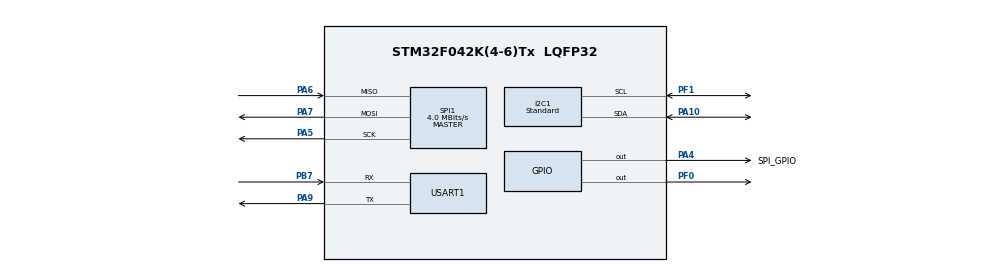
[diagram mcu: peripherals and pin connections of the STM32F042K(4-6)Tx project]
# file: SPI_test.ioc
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I2C1.Analog_Filter=I2C_ANALOGFILTER_DISABLE
I2C1.I2C_Speed_Mode=I2C_Standard
I2C1.Timing=0x00101D2D
Mcu.Family=STM32F0
Mcu.Name=STM32F042K(4-6)Tx
Mcu.Package=LQFP32
PA10.Mode=I2C
PA10.Signal=I2C1_SDA
PA4.GPIO_Label=SPI_GPIO
PA4.Signal=GPIO_Output
PA5.Mode=Full_Duplex_Master
PA5.Signal=SPI1_SCK
PA6.Mode=Full_Duplex_Master
PA6.Signal=SPI1_MISO
PA7.Mode=Full_Duplex_Master
PA7.Signal=SPI1_MOSI
PA9.Mode=Asynchronous
PA9.Signal=USART1_TX
PB7.Mode=Asynchronous
PB7.Signal=USART1_RX
PF0-OSC_IN.Signal=GPIO_Output
PF1-OSC_OUT.Mode=I2C
PF1-OSC_OUT.Signal=I2C1_SCL
ProjectManager.HeapSize=0x200
ProjectManager.StackSize=0x400
ProjectManager.TargetToolchain=SW4STM32
SPI1.CalculateBaudRate=4.0 MBits/s
SPI1.DataSize=SPI_DATASIZE_8BIT
SPI1.Direction=SPI_DIRECTION_2LINES
SPI1.Mode=SPI_MODE_MASTER
SPI1.NSSPMode=SPI_NSS_PULSE_DISABLE
SPI1.VirtualType=VM_MASTER
USART1.VirtualMode-Asynchronous=VM_ASYNC
board=custom

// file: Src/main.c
/**
  ******************************************************************************
  * @file           : main.c
  * @brief          : Main program body
  ******************************************************************************
  ** This notice applies to any and all portions of this file
  * that are not between comment pairs USER CODE BEGIN and
  * USER CODE END. Other portions of this file, whether
  * inserted by the user or by software development tools
  * are owned by their respective copyright owners.
  *
  * COPYRIGHT(c) 2018 STMicroelectronics
  *
  * Redistribution and use in source and binary forms, with or without modification,
  * are permitted provided that the following conditions are met:
  *   1. Redistributions of source code must retain the above copyright notice,
  *      this list of conditions and the following disclaimer.
  *   2. Redistributions in binary form must reproduce the above copyright notice,
  *      this list of conditions and the following disclaimer in the documentation
  *      and/or other materials provided with the distribution.
  *   3. Neither the name of STMicroelectronics nor the names of its contributors
  *      may be used to endorse or promote products derived from this software
  *      without specific prior written permission.
  *
  * THIS SOFTWARE IS PROVIDED BY THE COPYRIGHT HOLDERS AND CONTRIBUTORS "AS IS"
  * AND ANY EXPRESS OR IMPLIED WARRANTIES, INCLUDING, BUT NOT LIMITED TO, THE
  * IMPLIED WARRANTIES OF MERCHANTABILITY AND FITNESS FOR A PARTICULAR PURPOSE ARE
  * DISCLAIMED. IN NO EVENT SHALL THE COPYRIGHT HOLDER OR CONTRIBUTORS BE LIABLE
  * FOR ANY DIRECT, INDIRECT, INCIDENTAL, SPECIAL, EXEMPLARY, OR CONSEQUENTIAL
  * DAMAGES (INCLUDING, BUT NOT LIMITED TO, PROCUREMENT OF SUBSTITUTE GOODS OR
  * SERVICES; LOSS OF USE, DATA, OR PROFITS; OR BUSINESS INTERRUPTION) HOWEVER
  * CAUSED AND ON ANY THEORY OF LIABILITY, WHETHER IN CONTRACT, STRICT LIABILITY,
  * OR TORT (INCLUDING NEGLIGENCE OR OTHERWISE) ARISING IN ANY WAY OUT OF THE USE
  * OF THIS SOFTWARE, EVEN IF ADVISED OF THE POSSIBILITY OF SUCH DAMAGE.
  *
  ******************************************************************************
  */
#include "main.h"
#include "stm32f0xx_hal.h"

I2C_HandleTypeDef hi2c1;

SPI_HandleTypeDef hspi1;

UART_HandleTypeDef huart1;

/* USER CODE BEGIN PV */
/* Private variables ---------------------------------------------------------*/

/* USER CODE END PV */

void SystemClock_Config(void);
static void MX_GPIO_Init(void);
static void MX_I2C1_Init(void);
static void MX_USART1_UART_Init(void);
static void MX_SPI1_Init(void);

/* USER CODE BEGIN PFP */
/* Private function prototypes -----------------------------------------------*/
void LCD_Init();
int LCD_WriteData(uint8_t data);
void HelloWorld();
/* USER CODE END PFP */

int main(void)
{

  /* MCU Configuration----------------------------------------------------------*/

  /* Reset of all peripherals, Initializes the Flash interface and the Systick. */
  HAL_Init();

  /* Configure the system clock */
  SystemClock_Config();

  /* Initialize all configured peripherals */
  MX_GPIO_Init();
  MX_I2C1_Init();
  MX_USART1_UART_Init();
  MX_SPI1_Init();
  /* USER CODE BEGIN 2 */
  HAL_Delay(10);
  LCD_Init();
  HAL_Delay(10);

  char 	aRxBuffer[1];
  char 	aTxBuffer[1];
  uint8_t aSPITxBuffer[] = "Hello SPI World!\r\n";
  uint8_t aSPIRxBuffer[32];
  char  rxbuf[2];
  char  txbuf1[] = "a button pressed! \r\n";
  char  txbuf2[] = "b button pressed! \r\n";
  char  txbuf3[] = "Other button pressed! \r\n";
  HelloWorld();
  /* USER CODE END 2 */

  /* Infinite loop */
  while (1)
  {

  /* USER CODE BEGIN 3 */
	  rxbuf[0] = 0;
	  HAL_UART_Receive(&huart1,(uint8_t *)rxbuf, sizeof(rxbuf), 0xF);
	  if(aSPIRxBuffer[0] != 0)
	  {
//		  if(rxbuf[0] == 'a')
//		  {
//			  HAL_UART_Transmit(&huart1, (uint8_t *)txbuf1, sizeof(txbuf1), 0xFFFF);
//			  HAL_GPIO_WritePin(GPIOF, GPIO_PIN_0, 1);
//		  }else if(rxbuf[0] == 'b'){
//			  HAL_UART_Transmit(&huart1, (uint8_t *)txbuf2, sizeof(txbuf2), 0xFFFF);
//			  HAL_GPIO_WritePin(GPIOF, GPIO_PIN_0, 0);
//		  }else{
//			  HAL_UART_Transmit(&huart1, (uint8_t *)txbuf3, sizeof(txbuf3), 0xFFFF);
//			  LCD_WriteData(rxbuf[0]);
//		  }
		  HAL_UART_Transmit(&huart1, (uint8_t*)aSPIRxBuffer, sizeof(aSPIRxBuffer), 0xFFFF);
	  }
	  aSPIRxBuffer[0] = 0;
	  HAL_GPIO_WritePin(GPIOA,SPI_GPIO_Pin,0);
	  HAL_SPI_Receive(&hspi1, (uint8_t*)aSPIRxBuffer, sizeof(aSPIRxBuffer), 2000);
	  HAL_GPIO_WritePin(GPIOA,SPI_GPIO_Pin,1);
	  HAL_Delay(1000);

  }
  /* USER CODE END 3 */

}

void SystemClock_Config(void)
{

  RCC_OscInitTypeDef RCC_OscInitStruct;
  RCC_ClkInitTypeDef RCC_ClkInitStruct;
  RCC_PeriphCLKInitTypeDef PeriphClkInit;

    /**Initializes the CPU, AHB and APB busses clocks
    */
  RCC_OscInitStruct.OscillatorType = RCC_OSCILLATORTYPE_HSI;
  RCC_OscInitStruct.HSIState = RCC_HSI_ON;
  RCC_OscInitStruct.HSICalibrationValue = 16;
  RCC_OscInitStruct.PLL.PLLState = RCC_PLL_NONE;
  if (HAL_RCC_OscConfig(&RCC_OscInitStruct) != HAL_OK)
  {
    _Error_Handler(__FILE__, __LINE__);
  }

    /**Initializes the CPU, AHB and APB busses clocks
    */
  RCC_ClkInitStruct.ClockType = RCC_CLOCKTYPE_HCLK|RCC_CLOCKTYPE_SYSCLK
                              |RCC_CLOCKTYPE_PCLK1;
  RCC_ClkInitStruct.SYSCLKSource = RCC_SYSCLKSOURCE_HSI;
  RCC_ClkInitStruct.AHBCLKDivider = RCC_SYSCLK_DIV1;
  RCC_ClkInitStruct.APB1CLKDivider = RCC_HCLK_DIV1;

  if (HAL_RCC_ClockConfig(&RCC_ClkInitStruct, FLASH_LATENCY_0) != HAL_OK)
  {
    _Error_Handler(__FILE__, __LINE__);
  }

  PeriphClkInit.PeriphClockSelection = RCC_PERIPHCLK_USART1|RCC_PERIPHCLK_I2C1;
  PeriphClkInit.Usart1ClockSelection = RCC_USART1CLKSOURCE_PCLK1;
  PeriphClkInit.I2c1ClockSelection = RCC_I2C1CLKSOURCE_HSI;
  if (HAL_RCCEx_PeriphCLKConfig(&PeriphClkInit) != HAL_OK)
  {
    _Error_Handler(__FILE__, __LINE__);
  }

    /**Configure the Systick interrupt time
    */
  HAL_SYSTICK_Config(HAL_RCC_GetHCLKFreq()/1000);

    /**Configure the Systick
    */
  HAL_SYSTICK_CLKSourceConfig(SYSTICK_CLKSOURCE_HCLK);

  /* SysTick_IRQn interrupt configuration */
  HAL_NVIC_SetPriority(SysTick_IRQn, 0, 0);
}

/* I2C1 init function */
static void MX_I2C1_Init(void)
{

  hi2c1.Instance = I2C1;
  hi2c1.Init.Timing = 0x00101D2D;
  hi2c1.Init.OwnAddress1 = 0;
  hi2c1.Init.AddressingMode = I2C_ADDRESSINGMODE_7BIT;
  hi2c1.Init.DualAddressMode = I2C_DUALADDRESS_DISABLE;
  hi2c1.Init.OwnAddress2 = 0;
  hi2c1.Init.OwnAddress2Masks = I2C_OA2_NOMASK;
  hi2c1.Init.GeneralCallMode = I2C_GENERALCALL_DISABLE;
  hi2c1.Init.NoStretchMode = I2C_NOSTRETCH_DISABLE;
  if (HAL_I2C_Init(&hi2c1) != HAL_OK)
  {
    _Error_Handler(__FILE__, __LINE__);
  }

    /**Configure Analogue filter
    */
  if (HAL_I2CEx_ConfigAnalogFilter(&hi2c1, I2C_ANALOGFILTER_DISABLE) != HAL_OK)
  {
    _Error_Handler(__FILE__, __LINE__);
  }

    /**Configure Digital filter
    */
  if (HAL_I2CEx_ConfigDigitalFilter(&hi2c1, 0) != HAL_OK)
  {
    _Error_Handler(__FILE__, __LINE__);
  }

}

/* SPI1 init function */
static void MX_SPI1_Init(void)
{

  /* SPI1 parameter configuration*/
  hspi1.Instance = SPI1;
  hspi1.Init.Mode = SPI_MODE_MASTER;
  hspi1.Init.Direction = SPI_DIRECTION_2LINES;
  hspi1.Init.DataSize = SPI_DATASIZE_8BIT;
  hspi1.Init.CLKPolarity = SPI_POLARITY_LOW;
  hspi1.Init.CLKPhase = SPI_PHASE_1EDGE;
  hspi1.Init.NSS = SPI_NSS_SOFT;
  hspi1.Init.BaudRatePrescaler = SPI_BAUDRATEPRESCALER_2;
  hspi1.Init.FirstBit = SPI_FIRSTBIT_MSB;
  hspi1.Init.TIMode = SPI_TIMODE_DISABLE;
  hspi1.Init.CRCCalculation = SPI_CRCCALCULATION_DISABLE;
  hspi1.Init.CRCPolynomial = 7;
  hspi1.Init.CRCLength = SPI_CRC_LENGTH_DATASIZE;
  hspi1.Init.NSSPMode = SPI_NSS_PULSE_DISABLE;
  if (HAL_SPI_Init(&hspi1) != HAL_OK)
  {
    _Error_Handler(__FILE__, __LINE__);
  }

}

/* USART1 init function */
static void MX_USART1_UART_Init(void)
{

  huart1.Instance = USART1;
  huart1.Init.BaudRate = 38400;
  huart1.Init.WordLength = UART_WORDLENGTH_8B;
  huart1.Init.StopBits = UART_STOPBITS_1;
  huart1.Init.Parity = UART_PARITY_NONE;
  huart1.Init.Mode = UART_MODE_TX_RX;
  huart1.Init.HwFlowCtl = UART_HWCONTROL_NONE;
  huart1.Init.OverSampling = UART_OVERSAMPLING_16;
  huart1.Init.OneBitSampling = UART_ONE_BIT_SAMPLE_DISABLE;
  huart1.AdvancedInit.AdvFeatureInit = UART_ADVFEATURE_NO_INIT;
  if (HAL_UART_Init(&huart1) != HAL_OK)
  {
    _Error_Handler(__FILE__, __LINE__);
  }

}

/** Configure pins as
        * Analog
        * Input
        * Output
        * EVENT_OUT
        * EXTI
*/
static void MX_GPIO_Init(void)
{

  GPIO_InitTypeDef GPIO_InitStruct;

  /* GPIO Ports Clock Enable */
  __HAL_RCC_GPIOF_CLK_ENABLE();
  __HAL_RCC_GPIOA_CLK_ENABLE();
  __HAL_RCC_GPIOB_CLK_ENABLE();

  /*Configure GPIO pin Output Level */
  HAL_GPIO_WritePin(GPIOF, GPIO_PIN_0, GPIO_PIN_RESET);

  /*Configure GPIO pin Output Level */
  HAL_GPIO_WritePin(SPI_GPIO_GPIO_Port, SPI_GPIO_Pin, GPIO_PIN_RESET);

  /*Configure GPIO pin : PF0 */
  GPIO_InitStruct.Pin = GPIO_PIN_0;
  GPIO_InitStruct.Mode = GPIO_MODE_OUTPUT_PP;
  GPIO_InitStruct.Pull = GPIO_NOPULL;
  GPIO_InitStruct.Speed = GPIO_SPEED_FREQ_LOW;
  HAL_GPIO_Init(GPIOF, &GPIO_InitStruct);

  /*Configure GPIO pin : SPI_GPIO_Pin */
  GPIO_InitStruct.Pin = SPI_GPIO_Pin;
  GPIO_InitStruct.Mode = GPIO_MODE_OUTPUT_PP;
  GPIO_InitStruct.Pull = GPIO_NOPULL;
  GPIO_InitStruct.Speed = GPIO_SPEED_FREQ_LOW;
  HAL_GPIO_Init(SPI_GPIO_GPIO_Port, &GPIO_InitStruct);

}

/* USER CODE BEGIN 4 */
int LCD_WriteInstraction(uint8_t data)
{
    uint8_t buf[] = { 0x00, data };
    int status = HAL_I2C_Master_Transmit(&hi2c1, 0x7c, buf, 2, 1000);
    HAL_Delay(1);
    return status == HAL_OK;
}

// LCD の初期化
void LCD_Init()
{
    LCD_WriteInstraction(0x38);     // Function set
    LCD_WriteInstraction(0x39);     // Function set
    LCD_WriteInstraction(0x14);     // Internal OSC frequency
    LCD_WriteInstraction(0x70);     // Contrast set
    LCD_WriteInstraction(0x56);     // Power/ICON/Contrast set
    LCD_WriteInstraction(0x6c);     // Follower control
    HAL_Delay(200);
    LCD_WriteInstraction(0x38);     // Function set
    LCD_WriteInstraction(0x0c);     // Display ON/OFF control
    LCD_WriteInstraction(0x01);     // Clear Display
    HAL_Delay(1);
}

// DDRAM への書き込み
int LCD_WriteData(uint8_t data)
{
    uint8_t buf[] = { 0x40, data };
    int status = HAL_I2C_Master_Transmit(&hi2c1, 0x7c, buf, 2, 1000);
    HAL_Delay(1);
    return status == HAL_OK;
}

// 文字列の出力
void Puts(const char *p)
{
    for ( ; *p ; p++)
    {
        LCD_WriteData(*p);
    }
}

// Hello, world! の表示
void HelloWorld()
{
	LCD_WriteInstraction(0x80 | 0x00);
    Puts("HAL");
    LCD_WriteInstraction(0x80 | 0x40);  // 2 行目の先頭に移動
    Puts("world!");
}

/* USER CODE END 4 */

void _Error_Handler(char *file, int line)
{
  while(1)
  {
  }
}

/************************ (C) COPYRIGHT STMicroelectronics *****END OF FILE****/
